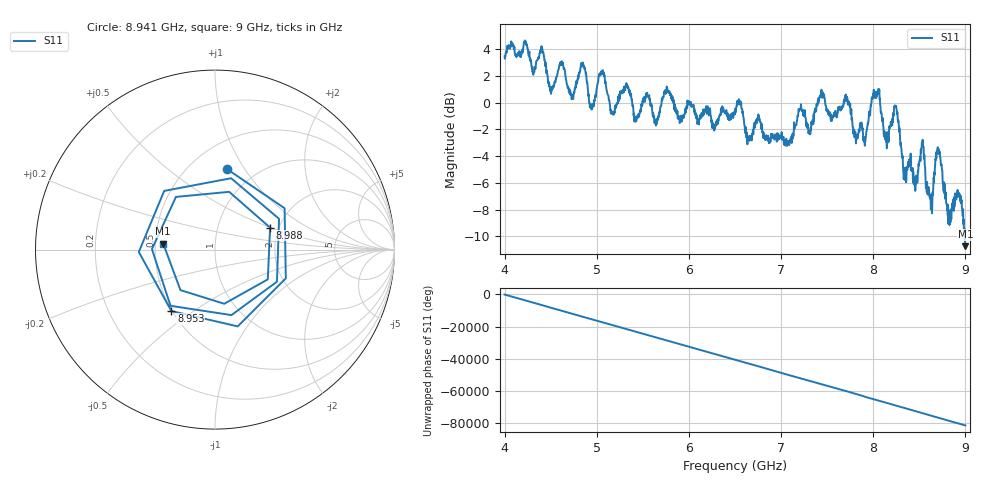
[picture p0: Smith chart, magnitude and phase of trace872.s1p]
! Created with skrf 1.8.0 (http://scikit-rf.org).
# Hz S RI R 50.0
!freq ReS11 ImS11
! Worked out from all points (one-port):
!   1601 points, 4 GHz to 9 GHz, reference 50 ohm
!   lowest |S11| = -10.7 dB at 9 GHz (marker M1), VSWR 1.82, Z = 27.6 + j2 ohm
!   |S11| at or under -10 dB: 8.993009 GHz to end of sweep
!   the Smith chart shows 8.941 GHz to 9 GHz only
!   S11 on the Smith chart (normalised r, x): 8.941 GHz: 0.74, +0.84; 8.953 GHz: 0.50, -0.41; 8.988 GHz: 1.80, +0.50; 9 GHz: 0.55, +0.04
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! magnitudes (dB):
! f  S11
! 4 GHz  3.5
! 4.403 GHz  4.0
! 4.512 GHz  0.9
! 4.625 GHz  3.0
! 4.734 GHz  0.4
! 4.853 GHz  2.8
! 4.944 GHz  -0.5
! 5.05 GHz  2.3
! 5.169 GHz  -0.8
! 5.25 GHz  0.5
! 5.875 GHz  -0.6
! 6.5 GHz  -0.7
! 7.125 GHz  -2.7
! 7.441 GHz  0.7
! 7.75 GHz  -0.1
! 7.912 GHz  -3.0
! 8.047 GHz  0.7
! 8.144 GHz  -2.9
! 8.241 GHz  -0.2
! 8.375 GHz  -4.6
! 8.534 GHz  -2.8
! 8.622 GHz  -6.9
! 8.706 GHz  -3.6
! 8.822 GHz  -8.8
! 8.941 GHz  -6.9
! 8.953 GHz  -7.5
! 8.988 GHz  -9.6
! 9 GHz  -10.7
